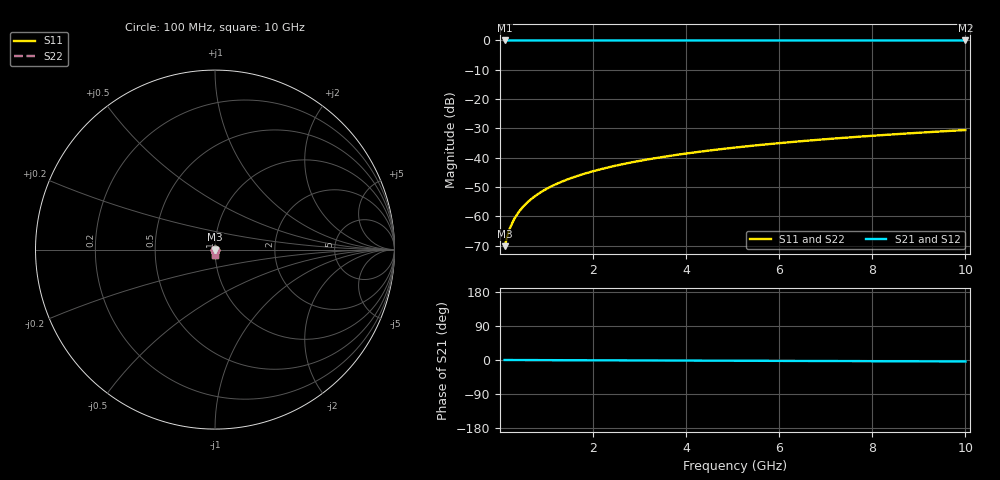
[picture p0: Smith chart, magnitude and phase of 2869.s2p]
# Hz S RI R 50.00
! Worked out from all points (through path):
!   100 points, 100 MHz to 10 GHz, reference 50 ohm
!   highest |S21| = 0.00 dB at 100 MHz (marker M1); lowest = 0.0 dB at 10 GHz (marker M2)
!   lowest |S11| = -70.1 dB at 100 MHz (marker M3), VSWR 1.00, Z = 50 - j0.0295 ohm
!   |S11| at or under -10 dB: start of sweep to end of sweep
!   |S22| runs from -70.1 to -30.5 dB; largest |S21 - S12| = 0
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1e8  0.000102 -0.000295  0.9999 -0.000668  0.9999 -0.000668  0.000102 -0.000295
2e8  0.000102 -0.00059  0.9999 -0.00134  0.9999 -0.00134  0.000102 -0.00059
3e8  0.000101 -0.000885  0.9999 -0.002  0.9999 -0.002  0.000101 -0.000885
4e8  9.93e-05 -0.00118  0.9999 -0.00267  0.9999 -0.00267  9.93e-05 -0.00118
5e8  9.74e-05 -0.00148  0.9999 -0.00334  0.9999 -0.00334  9.74e-05 -0.00148
6e8  9.51e-05 -0.00177  0.9999 -0.00401  0.9999 -0.00401  9.51e-05 -0.00177
7e8  9.24e-05 -0.00207  0.9999 -0.00468  0.9999 -0.00468  9.24e-05 -0.00207
8e8  8.92e-05 -0.00236  0.9999 -0.00534  0.9999 -0.00534  8.92e-05 -0.00236
9e8  8.57e-05 -0.00266  0.9999 -0.00601  0.9999 -0.00601  8.57e-05 -0.00266
1.1e9  7.73e-05 -0.00325  0.9999 -0.00735  0.9999 -0.00735  7.73e-05 -0.00325
1.4e9  6.18e-05 -0.00413  0.9998 -0.00935  0.9998 -0.00935  6.18e-05 -0.00413
1.8e9  3.54e-05 -0.00531  0.9998 -0.012  0.9998 -0.012  3.54e-05 -0.00531
2.1e9  1.14e-05 -0.0062  0.9998 -0.014  0.9998 -0.014  1.14e-05 -0.0062
2.5e9  -2.62e-05 -0.00738  0.9997 -0.0167  0.9997 -0.0167  -2.62e-05 -0.00738
2.9e9  -7.02e-05 -0.00857  0.9997 -0.0194  0.9997 -0.0194  -7.02e-05 -0.00857
3.4e9  -0.000134 -0.01  0.9996 -0.0227  0.9996 -0.0227  -0.000134 -0.01
4.2e9  -0.000257 -0.0124  0.9994 -0.0281  0.9994 -0.0281  -0.000257 -0.0124
5.1e9  -0.000427 -0.0151  0.9992 -0.0342  0.9992 -0.0342  -0.000427 -0.0151
5.9e9  -0.000605 -0.0175  0.9989 -0.0395  0.9989 -0.0395  -0.000605 -0.0175
6.7e9  -0.000809 -0.0198  0.9986 -0.0449  0.9986 -0.0449  -0.000809 -0.0198
8.4e9  -0.00133 -0.0249  0.9979 -0.0564  0.9979 -0.0564  -0.00133 -0.0249
1e10  -0.00193 -0.0297  0.9971 -0.0672  0.9971 -0.0672  -0.00193 -0.0297
